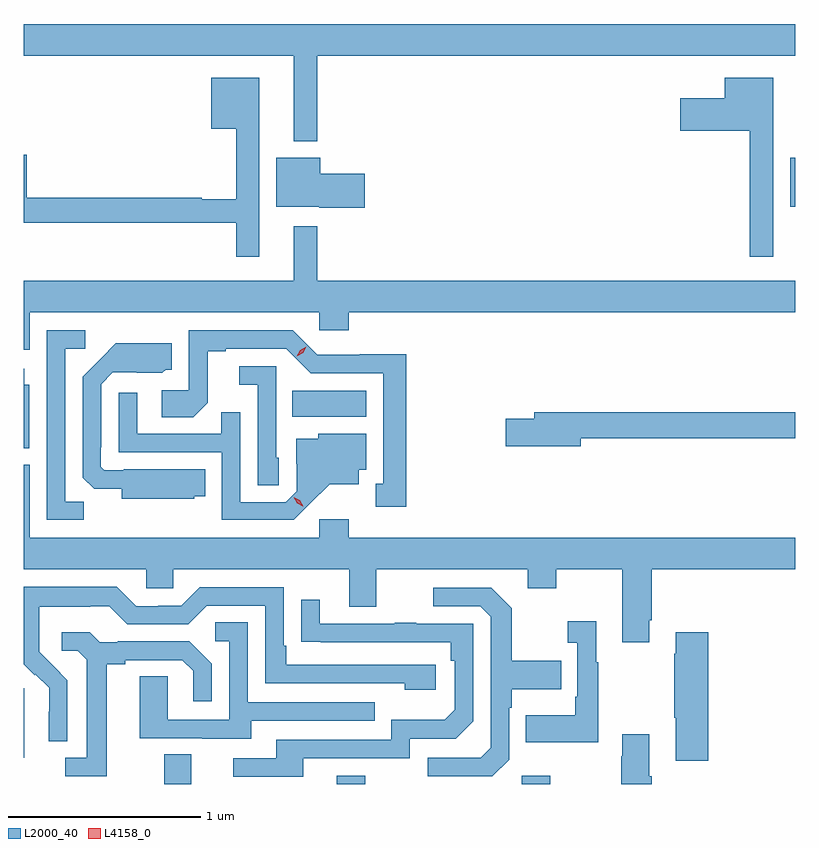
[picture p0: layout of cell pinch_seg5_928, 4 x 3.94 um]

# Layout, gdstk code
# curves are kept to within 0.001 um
import gdstk
lib = gdstk.Library(unit=1e-6, precision=1e-09)
def R(c, l, rs):  # rectangles x0, y0, x1, y1
    for r in rs: c.add(gdstk.rectangle(r[:2], r[2:], *l))
def P(c, l, *ps):  # polygons
    for p in ps: c.add(gdstk.Polygon(p, *l))
L2000_40 = (2000, 40)
L4158_0 = (4158, 0)

pinch_seg5_928 = lib.new_cell('pinch_seg5_928')
R(pinch_seg5_928, L2000_40, [(676.163,904.931,676.303,905.084), (677.057,904.931,677.205,904.975), (678.018,904.931,678.165,904.975), (675.435,905.066,675.436,905.427), (676.828,906.836,677.212,906.97), (679.409,907.925,679.435,908.179)])
P(pinch_seg5_928, L2000_40, [(676.957,908.708),(679.435,908.708),(679.435,908.872),(675.435,908.872),(675.435,908.708),(676.835,908.708),(676.835,908.264),(676.957,908.264)],
  [(679.321,908.593),(679.07,908.593),(679.07,908.488),(678.84,908.488),(678.84,908.318),(679.2,908.318),(679.2,907.665),(679.321,907.665)],
  [(676.657,908.593),(676.406,908.593),(676.406,908.33),(676.536,908.33),(676.536,907.963),(676.357,907.963),(676.357,907.97),(675.449,907.97),(675.449,908.194),(675.435,908.194),(675.435,907.842),(676.536,907.842),(676.536,907.665),(676.657,907.665)],
  [(677.203,908.096),(676.972,908.096),(676.972,908.179),(676.745,908.179),(676.745,907.925),(676.968,907.925),(676.968,907.918),(677.203,907.918)],
  [(675.466,907.376),(676.968,907.376),(676.968,907.283),(677.12,907.283),(677.12,907.376),(679.435,907.376),(679.435,907.54),(676.957,907.54),(676.957,907.822),(676.835,907.822),(676.835,907.54),(675.435,907.54),(675.435,907.182),(675.466,907.182)],
  [(675.747,906.395),(675.651,906.395),(675.651,907.188),(675.754,907.188),(675.754,907.284),(675.555,907.284),(675.555,906.3),(675.747,906.3)],
  [(677.419,907.16),(677.178,907.16),(677.178,907.158),(676.956,907.158),(676.83,907.284),(676.29,907.284),(676.29,906.972),(676.149,906.972),(676.149,906.832),(676.313,906.832),(676.389,906.908),(676.389,907.176),(676.483,907.176),(676.483,907.188),(676.797,907.188),(676.923,907.062),(677.3,907.062),(677.3,906.489),(677.261,906.489),(677.261,906.369),(677.419,906.369)],
  [(676.32,906.422),(676.376,906.422),(676.376,906.562),(675.952,906.562),(675.952,906.558),(675.852,906.558),(675.834,906.576),(675.834,906.676),(675.837,906.676),(675.837,907.005),(675.897,907.065),(676.154,907.064),(676.17,907.08),(676.201,907.08),(676.201,907.216),(675.913,907.216),(675.741,907.042),(675.741,906.52),(675.8,906.461),(675.944,906.461),(675.944,906.41),(676.32,906.41)],
  [(676.758,906.624),(676.743,906.624),(676.743,907.098),(676.551,907.098),(676.551,907.001),(676.647,907.001),(676.647,906.481),(676.758,906.481)],
  [(675.463,907.002),(675.436,907.002),(675.436,907.084),(675.435,907.084),(675.435,906.671),(675.463,906.671)],
  [(676.918,906.383),(677.021,906.485),(677.173,906.485),(677.173,906.561),(677.212,906.561),(677.212,906.748),(676.962,906.748),(676.962,906.721),(676.847,906.721),(676.847,906.592),(676.851,906.592),(676.851,906.45),(676.794,906.393),(676.557,906.393),(676.557,906.86),(676.459,906.86),(676.459,906.747),(676.023,906.747),(676.023,906.961),(675.927,906.961),(675.927,906.651),(676.461,906.651),(676.461,906.3),(676.834,906.3)],
  [(678.322,906.724),(679.435,906.724),(679.435,906.86),(678.083,906.86),(678.083,906.824),(677.934,906.824),(677.934,906.682),(678.322,906.682)],
  [(678.679,905.779),(678.692,905.779),(678.692,906.044),(679.435,906.044),(679.435,906.208),(677.12,906.208),(677.12,906.304),(676.968,906.304),(676.968,906.208),(675.466,906.208),(675.466,906.586),(675.435,906.586),(675.435,906.044),(676.071,906.044),(676.071,905.946),(676.209,905.946),(676.209,906.044),(677.123,906.044),(677.123,905.85),(677.263,905.85),(677.263,906.044),(678.047,906.044),(678.047,905.945),(678.195,905.945),(678.195,906.044),(678.539,906.044),(678.539,905.667),(678.679,905.667)],
  [(675.66,905.47),(675.514,905.618),(675.514,905.715),(675.516,905.715),(675.516,905.849),(675.779,905.849),(675.779,905.853),(675.879,905.853),(675.972,905.76),(676.287,905.76),(676.383,905.856),(676.686,905.856),(676.686,905.454),(677.411,905.454),(677.411,905.42),(677.572,905.42),(677.572,905.55),(676.795,905.55),(676.795,905.647),(676.782,905.647),(676.782,905.952),(676.347,905.952),(676.251,905.856),(676.133,905.856),(676.133,905.853),(676.017,905.853),(675.917,905.953),(675.435,905.953),(675.435,905.553),(675.492,905.496),(675.495,905.499),(675.566,905.429),(675.566,905.306),(675.564,905.306),(675.564,905.152),(675.66,905.152)],
  [(677.952,905.058),(677.952,905.327),(677.965,905.327),(677.965,905.423),(678.221,905.423),(678.221,905.571),(677.965,905.571),(677.965,905.843),(677.859,905.949),(677.559,905.949),(677.559,905.853),(677.802,905.853),(677.856,905.799),(677.856,905.118),(677.805,905.067),(677.529,905.067),(677.529,904.971),(677.865,904.971)],
  [(676.885,905.064),(677.436,905.064),(677.436,905.166),(677.676,905.166),(677.766,905.256),(677.766,905.763),(677.471,905.763),(677.471,905.768),(677.359,905.768),(677.359,905.763),(676.969,905.763),(676.969,905.887),(676.873,905.887),(676.873,905.668),(677.65,905.667),(677.65,905.57),(677.67,905.57),(677.67,905.316),(677.617,905.263),(677.34,905.263),(677.34,905.16),(676.745,905.16),(676.745,905.064),(676.521,905.064),(676.521,904.968),(676.885,904.968)],
  [(678.415,905.563),(678.403,905.563),(678.403,905.776),(678.255,905.776),(678.255,905.663),(678.306,905.663),(678.306,905.383),(678.294,905.383),(678.294,905.287),(678.037,905.287),(678.037,905.147),(678.415,905.147)],
  [(676.615,905.259),(677.255,905.259),(677.255,905.355),(676.596,905.355),(676.596,905.771),(676.428,905.771),(676.428,905.67),(676.5,905.67),(676.5,905.265),(676.182,905.265),(676.182,905.489),(676.037,905.489),(676.037,905.169),(676.361,905.169),(676.361,905.165),(676.615,905.165)],
  [(675.865,905.552),(675.961,905.552),(675.961,905.574),(676.256,905.574),(676.313,905.517),(676.313,905.361),(676.41,905.361),(676.41,905.554),(676.294,905.67),(675.922,905.67),(675.922,905.667),(675.828,905.667),(675.776,905.719),(675.633,905.719),(675.633,905.622),(675.714,905.622),(675.761,905.575),(675.761,905.067),(675.651,905.067),(675.651,904.971),(675.865,904.971)],
  [(678.983,905.719),(678.815,905.719),(678.815,905.606),(678.808,905.606),(678.808,905.275),(678.815,905.275),(678.815,905.052),(678.983,905.052)],
  [(678.692,904.972),(678.679,904.972),(678.679,905.188),(678.539,905.188),(678.539,905.075),(678.532,905.075),(678.532,904.931),(678.692,904.931)])
P(pinch_seg5_928, L4158_0, [(676.851,907.148),(676.851,907.148),(676.868,907.18),(676.9,907.199),(676.9,907.199),(676.9,907.199),(676.883,907.167),(676.851,907.148)],
  [(676.882,906.372),(676.852,906.388),(676.835,906.417),(676.835,906.418),(676.835,906.418),(676.866,906.402),(676.883,906.372),(676.883,906.372)])

lib.write_gds('pinch_seg5_928.gds')
